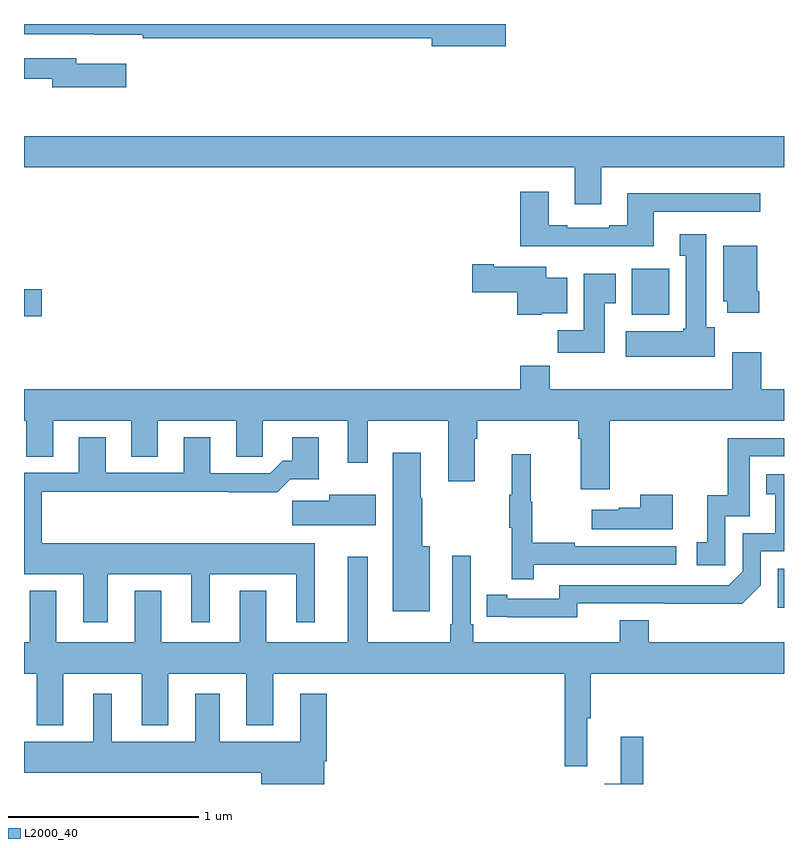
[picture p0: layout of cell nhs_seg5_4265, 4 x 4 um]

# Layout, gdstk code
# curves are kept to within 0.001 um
import gdstk
lib = gdstk.Library(unit=1e-6, precision=1e-09)
def R(c, l, rs):  # rectangles x0, y0, x1, y1
    for r in rs: c.add(gdstk.rectangle(r[:2], r[2:], *l))
def P(c, l, *ps):  # polygons
    for p in ps: c.add(gdstk.Polygon(p, *l))
L2000_40 = (2000, 40)

nhs_seg5_4265 = lib.new_cell('nhs_seg5_4265')
R(nhs_seg5_4265, L2000_40, [(364.968,903.726,365,903.933), (361,905.26,361.093,905.402), (364.199,905.27,364.396,905.512)])
P(nhs_seg5_4265, L2000_40, [(363.535,906.799),(361,906.799),(361,906.744),(361.372,906.744),(361.372,906.743),(361.624,906.743),(361.624,906.724),(363.146,906.724),(363.146,906.682),(363.535,906.682)],
  [(361.537,906.589),(361.276,906.589),(361.276,906.618),(361,906.618),(361,906.51),(361.148,906.51),(361.148,906.467),(361.537,906.467)],
  [(364.039,906.044),(365,906.044),(365,906.208),(361,906.208),(361,906.044),(363.899,906.044),(363.899,905.85),(364.039,905.85)],
  [(364.315,905.811),(364.876,905.811),(364.876,905.908),(364.175,905.908),(364.175,905.74),(364.079,905.74),(364.079,905.727),(363.859,905.727),(363.859,905.74),(363.763,905.74),(363.763,905.917),(363.611,905.917),(363.611,905.63),(364.315,905.63)],
  [(364.636,905.202),(364.591,905.202),(364.591,905.692),(364.451,905.692),(364.451,905.579),(364.484,905.579),(364.484,905.196),(364.471,905.196),(364.471,905.182),(364.167,905.182),(364.167,905.048),(364.636,905.048)],
  [(364.871,905.392),(364.858,905.392),(364.858,905.632),(364.679,905.632),(364.679,905.34),(364.7,905.34),(364.7,905.28),(364.871,905.28)],
  [(363.726,905.276),(363.859,905.276),(363.859,905.464),(363.748,905.464),(363.748,905.521),(363.472,905.521),(363.472,905.534),(363.36,905.534),(363.36,905.387),(363.596,905.387),(363.596,905.27),(363.726,905.27)],
  [(364.057,905.329),(364.114,905.329),(364.114,905.485),(363.947,905.485),(363.947,905.188),(363.808,905.188),(363.808,905.07),(364.057,905.07)],
  [(364.082,904.712),(365,904.712),(365,904.876),(364.88,904.876),(364.88,905.071),(364.727,905.071),(364.727,904.876),(363.767,904.876),(363.767,905),(363.611,905),(363.611,904.876),(361,904.876),(361,904.712),(361.013,904.712),(361.013,904.522),(361.153,904.522),(361.153,904.712),(361.565,904.712),(361.565,904.522),(361.705,904.522),(361.705,904.712),(362.117,904.712),(362.117,904.522),(362.256,904.522),(362.256,904.712),(362.705,904.712),(362.705,904.491),(362.809,904.491),(362.809,904.712),(363.233,904.712),(363.233,904.392),(363.373,904.392),(363.373,904.616),(363.386,904.616),(363.386,904.712),(363.917,904.712),(363.917,904.616),(363.929,904.616),(363.929,904.35),(364.082,904.35)],
  [(361.441,903.902),(361.88,903.902),(361.88,903.651),(361.978,903.651),(361.978,903.902),(362.432,903.902),(362.432,903.651),(362.53,903.651),(362.53,904.066),(361.093,904.066),(361.093,904.336),(362.077,904.336),(362.077,904.334),(362.333,904.334),(362.402,904.403),(362.551,904.403),(362.551,904.624),(362.411,904.624),(362.411,904.501),(362.362,904.501),(362.295,904.434),(361.981,904.434),(361.981,904.624),(361.841,904.624),(361.841,904.437),(361.429,904.437),(361.429,904.624),(361.289,904.624),(361.289,904.437),(361,904.437),(361,903.902),(361.313,903.902),(361.313,903.651),(361.441,903.651)],
  [(364.692,904.209),(364.821,904.209),(364.821,904.524),(365,904.524),(365,904.62),(364.705,904.62),(364.705,904.318),(364.595,904.318),(364.595,904.071),(364.542,904.071),(364.542,903.951),(364.692,903.951)],
  [(363.136,904.051),(363.096,904.051),(363.096,904.304),(363.088,904.304),(363.088,904.543),(362.942,904.543),(362.942,903.707),(363.136,903.707)],
  [(363.683,903.954),(364.432,903.954),(364.432,904.05),(363.899,904.05),(363.899,904.07),(363.676,904.07),(363.676,904.284),(363.668,904.284),(363.668,904.534),(363.566,904.534),(363.566,904.321),(363.555,904.321),(363.555,904.147),(363.566,904.147),(363.566,903.876),(363.683,903.876)],
  [(363.912,903.75),(364.78,903.749),(364.878,903.846),(364.878,904.023),(365,904.023),(365,904.429),(364.906,904.429),(364.906,904.323),(364.955,904.323),(364.955,904.119),(364.782,904.119),(364.782,903.918),(364.71,903.846),(363.816,903.846),(363.816,903.774),(363.544,903.774),(363.544,903.794),(363.436,903.794),(363.436,903.678),(363.912,903.677)],
  [(362.851,904.321),(362.606,904.321),(362.606,904.289),(362.412,904.289),(362.412,904.16),(362.851,904.16)],
  [(364.414,904.321),(364.244,904.321),(364.244,904.253),(364.13,904.253),(364.13,904.243),(363.987,904.243),(363.987,904.139),(364.414,904.139)],
  [(363.965,903.144),(363.983,903.144),(363.983,903.38),(365,903.38),(365,903.544),(364.289,903.544),(364.289,903.661),(364.136,903.661),(364.136,903.544),(363.365,903.544),(363.365,903.64),(363.351,903.64),(363.351,904),(363.255,904),(363.255,903.64),(363.243,903.64),(363.243,903.544),(362.809,903.544),(362.809,903.994),(362.705,903.994),(362.705,903.544),(362.275,903.544),(362.275,903.817),(362.135,903.817),(362.135,903.544),(361.723,903.544),(361.723,903.817),(361.583,903.817),(361.583,903.544),(361.171,903.544),(361.171,903.817),(361.031,903.817),(361.031,903.544),(361,903.544),(361,903.38),(361.067,903.38),(361.067,903.107),(361.207,903.107),(361.207,903.38),(361.619,903.38),(361.619,903.107),(361.759,903.107),(361.759,903.38),(362.171,903.38),(362.171,903.107),(362.311,903.107),(362.311,903.38),(363.847,903.38),(363.847,902.892),(363.965,902.892)],
  [(362.581,902.918),(362.594,902.918),(362.594,903.274),(362.453,903.274),(362.453,903.022),(362.029,903.022),(362.029,903.274),(361.901,903.274),(361.901,903.022),(361.462,903.022),(361.462,903.274),(361.364,903.274),(361.364,903.022),(361,903.022),(361,902.858),(362.249,902.858),(362.249,902.799),(362.581,902.799)],
  [(364.259,903.049),(364.142,903.049),(364.142,902.801),(364.056,902.801),(364.056,902.799),(364.259,902.799)])

lib.write_gds('nhs_seg5_4265.gds')
